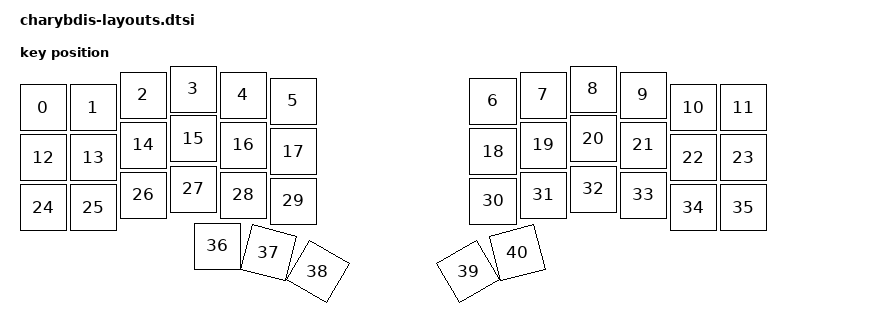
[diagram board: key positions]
#include <physical_layouts.dtsi>

/ {
    physical_layout0: physical_layout_0 {
        compatible = "zmk,physical-layout";
        display-name = "Charybdis";

        keys  //                     w   h    x    y     rot    rx    ry
            = <&key_physical_attrs 100 100    0   41      0    0    0>,
              <&key_physical_attrs 100 100  100   41      0    0    0>,
              <&key_physical_attrs 100 100  200   16      0    0    0>,
              <&key_physical_attrs 100 100  300    4      0    0    0>,
              <&key_physical_attrs 100 100  400   16      0    0    0>,
              <&key_physical_attrs 100 100  500   28      0    0    0>,
              <&key_physical_attrs 100 100  900   28      0    0    0>,
              <&key_physical_attrs 100 100 1000   16      0    0    0>,
              <&key_physical_attrs 100 100 1100    4      0    0    0>,
              <&key_physical_attrs 100 100 1200   16      0    0    0>,
              <&key_physical_attrs 100 100 1300   41      0    0    0>,
              <&key_physical_attrs 100 100 1400   41      0    0    0>,
              <&key_physical_attrs 100 100    0  141      0    0    0>,
              <&key_physical_attrs 100 100  100  141      0    0    0>,
              <&key_physical_attrs 100 100  200  116      0    0    0>,
              <&key_physical_attrs 100 100  300  103      0    0    0>,
              <&key_physical_attrs 100 100  400  116      0    0    0>,
              <&key_physical_attrs 100 100  500  129      0    0    0>,
              <&key_physical_attrs 100 100  900  129      0    0    0>,
              <&key_physical_attrs 100 100 1000  116      0    0    0>,
              <&key_physical_attrs 100 100 1100  103      0    0    0>,
              <&key_physical_attrs 100 100 1200  116      0    0    0>,
              <&key_physical_attrs 100 100 1300  141      0    0    0>,
              <&key_physical_attrs 100 100 1400  141      0    0    0>,
              <&key_physical_attrs 100 100    0  241      0    0    0>,
              <&key_physical_attrs 100 100  100  241      0    0    0>,
              <&key_physical_attrs 100 100  200  216      0    0    0>,
              <&key_physical_attrs 100 100  300  204      0    0    0>,
              <&key_physical_attrs 100 100  400  216      0    0    0>,
              <&key_physical_attrs 100 100  500  228      0    0    0>,
              <&key_physical_attrs 100 100  900  228      0    0    0>,
              <&key_physical_attrs 100 100 1000  216      0    0    0>,
              <&key_physical_attrs 100 100 1100  204      0    0    0>,
              <&key_physical_attrs 100 100 1200  216      0    0    0>,
              <&key_physical_attrs 100 100 1300  241      0    0    0>,
              <&key_physical_attrs 100 100 1400  241      0    0    0>,
              <&key_physical_attrs 100 100  348  318      0    0    0>,
              <&key_physical_attrs 100 100  348  318   1500  398  768>,
              <&key_physical_attrs 100 100  348  315   3000  398  768>,
              <&key_physical_attrs 100 100 1052  315 (-3000) 1102  768>,
              <&key_physical_attrs 100 100 1052  318 (-1500) 1102  768>;
    };
};
